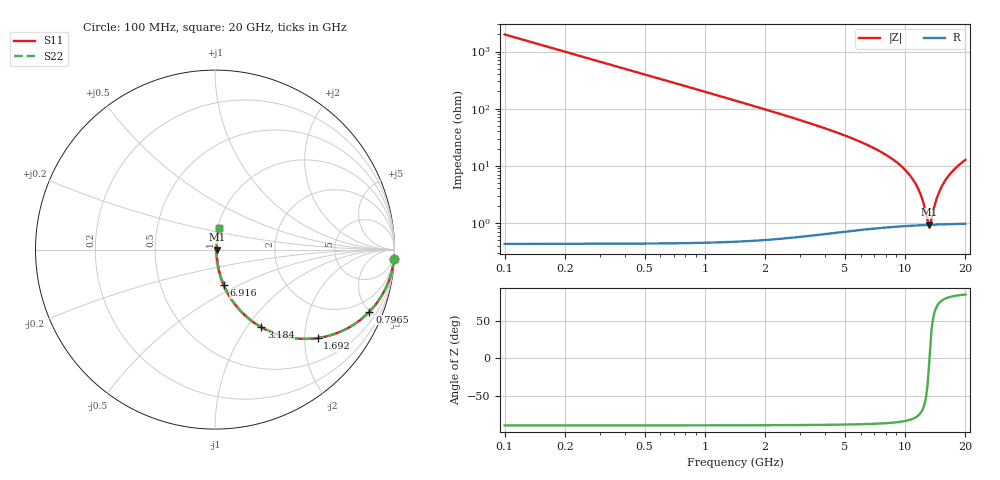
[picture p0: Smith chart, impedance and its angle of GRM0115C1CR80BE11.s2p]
!Murata Part Number: GRM0115C1CR80BE11
!These Parameters are Measured in Series Mode Connection
!Data Generated on Mar 30, 2021
!  o--ll--o
!Port1  Port2
!  o------o
!Operation Temp=25[degC], DC Bias Voltage=0[V]
!Freq. Start=100[MHz] Stop=20[GHz] 401[Steps]
# Hz S RI R 50
!Freq.(Hz) S11(Real) S11(Imag) S21(Real) S21(Imag) S12(Real) S12(Imag) S22(Real) S22(Imag)
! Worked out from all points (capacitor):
!   401 points, 100 MHz to 20 GHz, reference 50 ohm
!   read as one part in series: C = 800 fF near 199.5 MHz
!   lowest |Z| = 925 mohm at 13.23 GHz (marker M1)
!   series resonance near 13.23 GHz, so ESL is about 180 pH
!   S11 on the Smith chart (normalised r, x): 100 MHz: 1, -40; 796.5 MHz: 1.01, -4.98; 1.692 GHz: 1.01, -2.31; 3.184 GHz: 1.01, -1.17; 6.916 GHz: 1.02, -0.41; 20 GHz: 1.02, +0.25
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1e8  0.9975 -0.0501  0.00253 0.0501  0.00253 0.0501  0.9975 -0.0501
2.99e8  0.9778 -0.147  0.0222 0.147  0.0222 0.147  0.9778 -0.147
3.985e8  0.9612 -0.1927  0.0388 0.1927  0.0388 0.1927  0.9612 -0.1927
7.965e8  0.8605 -0.3456  0.1395 0.3456  0.1395 0.3456  0.8605 -0.3456
1.1945e9  0.731 -0.4421  0.269 0.4421  0.269 0.4421  0.731 -0.4421
1.692e9  0.5713 -0.4928  0.4287 0.4928  0.4287 0.4928  0.5713 -0.4928
3.1845e9  0.258 -0.4326  0.742 0.4326  0.742 0.4326  0.258 -0.4326
3.43325e9  0.2272 -0.4135  0.7728 0.4135  0.7728 0.4135  0.2272 -0.4135
4.82625e9  0.1168 -0.3116  0.8832 0.3116  0.8832 0.3116  0.1168 -0.3116
6.7665e9  0.0511 -0.2027  0.9489 0.2027  0.9489 0.2027  0.0511 -0.2027
6.91575e9  0.0481 -0.1958  0.9519 0.1958  0.9519 0.1958  0.0481 -0.1958
1.005e10  0.0153 -0.0808  0.9847 0.0808  0.9847 0.0808  0.0153 -0.0808
1.179125e10  0.0101 -0.0336  0.9899 0.0336  0.9899 0.0336  0.0101 -0.0336
1.238825e10  0.00944 -0.0191  0.9906 0.0191  0.9906 0.0191  0.00944 -0.0191
1.3035e10  0.00916 -0.00424  0.9908 0.00424  0.9908 0.00424  0.00916 -0.00424
1.3234e10  0.00916 0.000183  0.9908 -0.000183  0.9908 -0.000183  0.00916 0.000183
1.338325e10  0.00919 0.00346  0.9908 -0.00346  0.9908 -0.00346  0.00919 0.00346
1.407975e10  0.00958 0.0183  0.9904 -0.0183  0.9904 -0.0183  0.00958 0.0183
1.47265e10  0.0103 0.0314  0.9897 -0.0314  0.9897 -0.0314  0.0103 0.0314
1.557225e10  0.0117 0.0478  0.9883 -0.0478  0.9883 -0.0478  0.0117 0.0478
1.67165e10  0.0142 0.0686  0.9858 -0.0686  0.9858 -0.0686  0.0142 0.0686
2e10  0.0249 0.1221  0.9751 -0.1221  0.9751 -0.1221  0.0249 0.1221
